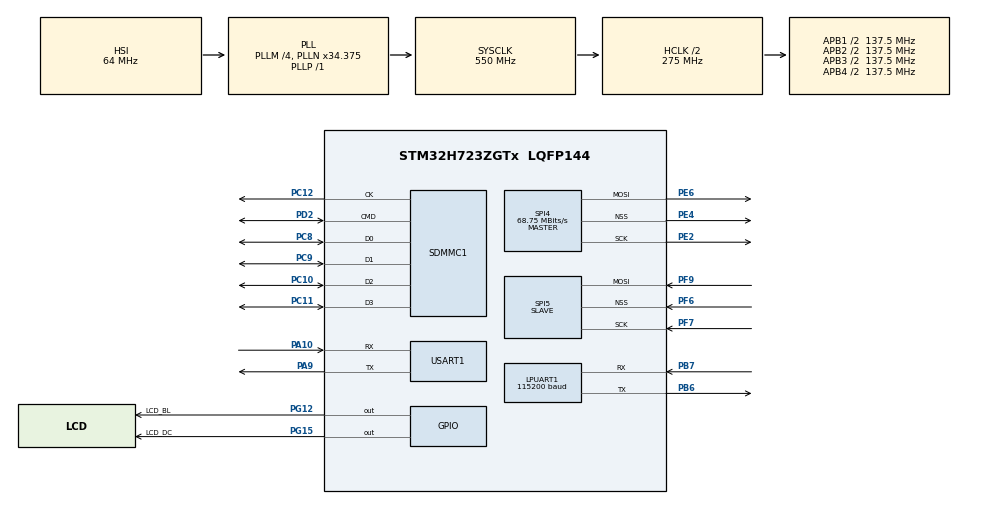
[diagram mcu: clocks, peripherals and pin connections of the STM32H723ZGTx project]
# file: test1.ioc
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CORTEX_M7.CPU_DCache=Enabled
CORTEX_M7.CPU_ICache=Enabled
CORTEX_M7.default_mode_Activation=1
FREERTOS.Tasks01=defaultTask,24,128,StartDefaultTask,Default,NULL,Dynamic,NULL,NULL
FREERTOS.configUSE_TICK_HOOK=1
LPUART1.BaudRate=115200
Mcu.Family=STM32H7
Mcu.Name=STM32H723ZGTx
Mcu.Package=LQFP144
NVIC.PriorityGroup=NVIC_PRIORITYGROUP_4
NVIC.SPI4_IRQn=true\:5\:0\:false\:false\:true\:true\:true\:true\:true
NVIC.TIM1_UP_IRQn=true\:15\:0\:false\:false\:true\:false\:false\:true\:true
NVIC.TimeBase=TIM1_UP_IRQn
NVIC.TimeBaseIP=TIM1
PA10.Mode=Asynchronous
PA10.Signal=USART1_RX
PA13(JTMS/SWDIO).Mode=Serial_Wire
PA13(JTMS/SWDIO).Signal=DEBUG_JTMS-SWDIO
PA14(JTCK/SWCLK).Mode=Serial_Wire
PA14(JTCK/SWCLK).Signal=DEBUG_JTCK-SWCLK
PA9.Mode=Asynchronous
PA9.Signal=USART1_TX
PB6.Mode=Asynchronous
PB6.Signal=LPUART1_TX
PB7.Mode=Asynchronous
PB7.Signal=LPUART1_RX
PC10.Mode=SD_4_bits_Wide_bus
PC10.Signal=SDMMC1_D2
PC11.Mode=SD_4_bits_Wide_bus
PC11.Signal=SDMMC1_D3
PC12.Mode=SD_4_bits_Wide_bus
PC12.Signal=SDMMC1_CK
PC14-OSC32_IN.Mode=LSE-External-Oscillator
PC14-OSC32_IN.Signal=RCC_OSC32_IN
PC15-OSC32_OUT.Mode=LSE-External-Oscillator
PC15-OSC32_OUT.Signal=RCC_OSC32_OUT
PC8.Mode=SD_4_bits_Wide_bus
PC8.Signal=SDMMC1_D0
PC9.Mode=SD_4_bits_Wide_bus
PC9.Signal=SDMMC1_D1
PD2.Mode=SD_4_bits_Wide_bus
PD2.Signal=SDMMC1_CMD
PE2.GPIO_Speed=GPIO_SPEED_FREQ_VERY_HIGH
PE2.Mode=TX_Only_Simplex_Unidirect_Master
PE2.Signal=SPI4_SCK
PE4.GPIO_Speed=GPIO_SPEED_FREQ_VERY_HIGH
PE4.Mode=NSS_Signal_Hard_Output
PE4.Signal=SPI4_NSS
PE6.GPIO_Speed=GPIO_SPEED_FREQ_VERY_HIGH
PE6.Mode=TX_Only_Simplex_Unidirect_Master
PE6.Signal=SPI4_MOSI
PF6.GPIO_Speed=GPIO_SPEED_FREQ_MEDIUM
PF6.Mode=NSS_Signal_Hard_Input
PF6.Signal=SPI5_NSS
PF7.GPIO_Speed=GPIO_SPEED_FREQ_MEDIUM
PF7.Mode=RX_Only_Simplex_Unidirect_Slave
PF7.Signal=SPI5_SCK
PF9.GPIO_Speed=GPIO_SPEED_FREQ_MEDIUM
PF9.Mode=RX_Only_Simplex_Unidirect_Slave
PF9.Signal=SPI5_MOSI
PG12.GPIO_Label=LCD_BL
PG12.GPIO_ModeDefaultOutputPP=GPIO_MODE_OUTPUT_PP
PG12.GPIO_PuPd=GPIO_PULLDOWN
PG12.Signal=GPIO_Output
PG15.GPIO_Label=LCD_DC
PG15.GPIO_PuPd=GPIO_NOPULL
PG15.Signal=GPIO_Output
PH0-OSC_IN.Mode=HSE-External-Oscillator
PH0-OSC_IN.Signal=RCC_OSC_IN
PH1-OSC_OUT.Mode=HSE-External-Oscillator
PH1-OSC_OUT.Signal=RCC_OSC_OUT
ProjectManager.HeapSize=0x2000
ProjectManager.StackSize=0x10000
ProjectManager.TargetToolchain=MDK-ARM V5.32
RCC.ADCFreq_Value=129000000
RCC.APB1Freq_Value=137500000
RCC.APB2Freq_Value=137500000
RCC.APB3Freq_Value=137500000
RCC.APB4Freq_Value=137500000
RCC.CortexFreq_Value=550000000
RCC.D1PPRE=RCC_APB3_DIV2
RCC.D2PPRE1=RCC_APB1_DIV2
RCC.D2PPRE2=RCC_APB2_DIV2
RCC.D3PPRE=RCC_APB4_DIV2
RCC.DIVM1=4
RCC.DIVM3=1
RCC.DIVN1=34
RCC.DIVN3=48
RCC.DIVP1=1
RCC.DIVR2=5
RCC.DIVR3=25
RCC.HCLKFreq_Value=275000000
RCC.HPRE=RCC_HCLK_DIV2
RCC.PLL2FRACN=0
RCC.PLL3FRACN=0
RCC.PLLFRACN=3072
RCC.SDMMC1CLockSelection=RCC_SDMMCCLKSOURCE_PLL2
RCC.SYSCLKFreq_VALUE=550000000
RCC.SYSCLKSource=RCC_SYSCLKSOURCE_PLLCLK
RCC.USBFreq_Value=275000000
SPI4.BaudRatePrescaler=SPI_BAUDRATEPRESCALER_2
SPI4.CalculateBaudRate=68.75 MBits/s
SPI4.DataSize=SPI_DATASIZE_8BIT
SPI4.Direction=SPI_DIRECTION_2LINES_TXONLY
SPI4.FifoThreshold=SPI_FIFO_THRESHOLD_02DATA
SPI4.FirstBit=SPI_FIRSTBIT_MSB
SPI4.Mode=SPI_MODE_MASTER
SPI4.VirtualNSS=VM_NSSHARD
SPI4.VirtualType=VM_MASTER
SPI5.DataSize=SPI_DATASIZE_8BIT
SPI5.Direction=SPI_DIRECTION_2LINES_RXONLY
SPI5.Mode=SPI_MODE_SLAVE
SPI5.VirtualNSS=VM_NSSHARD
SPI5.VirtualType=VM_SLAVE
USART1.VirtualMode-Asynchronous=VM_ASYNC
VP_FREERTOS_VS_CMSIS_V2.Mode=CMSIS_V2
VP_MEMORYMAP_VS_MEMORYMAP.Mode=CurAppReg
VP_SYS_VS_tim1.Mode=TIM1
board=custom

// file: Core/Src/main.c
/* USER CODE BEGIN Header */
/**
  ******************************************************************************
  * @file           : main.c
  * @brief          : Main program body
  ******************************************************************************
  * @attention
  *
  * Copyright (c) 2025 STMicroelectronics.
  * All rights reserved.
  *
  * This software is licensed under terms that can be found in the LICENSE file
  * in the root directory of this software component.
  * If no LICENSE file comes with this software, it is provided AS-IS.
  *
  ******************************************************************************
  */
/* USER CODE END Header */
#include "main.h"
#include "cmsis_os.h"
#include "usart.h"
#include "memorymap.h"
#include "sdmmc.h"
#include "spi.h"
#include "gpio.h"

/* USER CODE BEGIN Includes */
#include "stdio.h"
#include "lv_port_disp_template.h"
#include "lv_port_indev_template.h"
#include "lcd_spi_200.h"
/* USER CODE END Includes */

/* USER CODE BEGIN PTD */
#define Camera_Buffer	0x24000000   //摄像头缓冲区

/* USER CODE END PTD */

void SystemClock_Config(void);
static void MPU_Config(void);
void MX_FREERTOS_Init(void);

int main(void)
{

  /* MPU Configuration--------------------------------------------------------*/
  MPU_Config();

  /* Enable the CPU Cache */

  /* Enable I-Cache---------------------------------------------------------*/
  SCB_EnableICache();

  /* Enable D-Cache---------------------------------------------------------*/
  SCB_EnableDCache();

  /* MCU Configuration--------------------------------------------------------*/

  /* Reset of all peripherals, Initializes the Flash interface and the Systick. */
  HAL_Init();

  /* Configure the system clock */
  SystemClock_Config();

  /* Initialize all configured peripherals */
  MX_GPIO_Init();
  MX_SPI5_Init();
  MX_USART1_UART_Init();
  MX_SPI4_Init();
  MX_LPUART1_UART_Init();
  MX_SDMMC1_SD_Init();
  /* USER CODE BEGIN 2 */
//	DCMI_OV2640_Init();
//	OV2640_Set_Horizontal_Mirror(0);
//	OV2640_Set_Effect(0);
  /* USER CODE END 2 */

  /* Init scheduler */
  osKernelInitialize();

  /* Call init function for freertos objects (in cmsis_os2.c) */
  MX_FREERTOS_Init();

  /* Start scheduler */
  osKernelStart();

  /* We should never get here as control is now taken by the scheduler */

  /* Infinite loop */
  while (1)
  {

    /* USER CODE BEGIN 3 */
	  HAL_Delay(1000);
  }
  /* USER CODE END 3 */
}

void SystemClock_Config(void)
{
  RCC_OscInitTypeDef RCC_OscInitStruct = {0};
  RCC_ClkInitTypeDef RCC_ClkInitStruct = {0};

  /** Supply configuration update enable
  */
  HAL_PWREx_ConfigSupply(PWR_LDO_SUPPLY);

  /** Configure the main internal regulator output voltage
  */
  __HAL_PWR_VOLTAGESCALING_CONFIG(PWR_REGULATOR_VOLTAGE_SCALE0);

  while(!__HAL_PWR_GET_FLAG(PWR_FLAG_VOSRDY)) {}

  /** Initializes the RCC Oscillators according to the specified parameters
  * in the RCC_OscInitTypeDef structure.
  */
  RCC_OscInitStruct.OscillatorType = RCC_OSCILLATORTYPE_HSI;
  RCC_OscInitStruct.HSIState = RCC_HSI_DIV1;
  RCC_OscInitStruct.HSICalibrationValue = 64;
  RCC_OscInitStruct.PLL.PLLState = RCC_PLL_ON;
  RCC_OscInitStruct.PLL.PLLSource = RCC_PLLSOURCE_HSI;
  RCC_OscInitStruct.PLL.PLLM = 4;
  RCC_OscInitStruct.PLL.PLLN = 34;
  RCC_OscInitStruct.PLL.PLLP = 1;
  RCC_OscInitStruct.PLL.PLLQ = 2;
  RCC_OscInitStruct.PLL.PLLR = 2;
  RCC_OscInitStruct.PLL.PLLRGE = RCC_PLL1VCIRANGE_3;
  RCC_OscInitStruct.PLL.PLLVCOSEL = RCC_PLL1VCOWIDE;
  RCC_OscInitStruct.PLL.PLLFRACN = 3072;
  if (HAL_RCC_OscConfig(&RCC_OscInitStruct) != HAL_OK)
  {
    Error_Handler();
  }

  /** Initializes the CPU, AHB and APB buses clocks
  */
  RCC_ClkInitStruct.ClockType = RCC_CLOCKTYPE_HCLK|RCC_CLOCKTYPE_SYSCLK
                              |RCC_CLOCKTYPE_PCLK1|RCC_CLOCKTYPE_PCLK2
                              |RCC_CLOCKTYPE_D3PCLK1|RCC_CLOCKTYPE_D1PCLK1;
  RCC_ClkInitStruct.SYSCLKSource = RCC_SYSCLKSOURCE_PLLCLK;
  RCC_ClkInitStruct.SYSCLKDivider = RCC_SYSCLK_DIV1;
  RCC_ClkInitStruct.AHBCLKDivider = RCC_HCLK_DIV2;
  RCC_ClkInitStruct.APB3CLKDivider = RCC_APB3_DIV2;
  RCC_ClkInitStruct.APB1CLKDivider = RCC_APB1_DIV2;
  RCC_ClkInitStruct.APB2CLKDivider = RCC_APB2_DIV2;
  RCC_ClkInitStruct.APB4CLKDivider = RCC_APB4_DIV2;

  if (HAL_RCC_ClockConfig(&RCC_ClkInitStruct, FLASH_LATENCY_3) != HAL_OK)
  {
    Error_Handler();
  }
}

/* USER CODE BEGIN 4 */
//断言处理  覆盖ARM标准断言函数
void __aeabi_assert(const char *expr, const char *file, int line) {
    printf("Assertion failed: %s, file %s, line %d\n", expr, file, line);
    while(1); // 死循环或触发复位
}

//void MPU_Config(void)
//{
//  MPU_Region_InitTypeDef MPU_InitStruct;
//
//  HAL_MPU_Disable(); // �޸�MPU����֮ǰ�Ƚ���

//  MPU_InitStruct.Enable 				= MPU_REGION_ENABLE;
//  MPU_InitStruct.BaseAddress 			= 0x24000000;
//  MPU_InitStruct.Size 					= MPU_REGION_SIZE_512KB;
//  MPU_InitStruct.AccessPermission 	= MPU_REGION_FULL_ACCESS;
//  MPU_InitStruct.IsBufferable 		= MPU_ACCESS_BUFFERABLE;
//  MPU_InitStruct.IsCacheable 			= MPU_ACCESS_CACHEABLE;
//  MPU_InitStruct.IsShareable 			= MPU_ACCESS_SHAREABLE;
//  MPU_InitStruct.Number 				= MPU_REGION_NUMBER0;
//  MPU_InitStruct.TypeExtField 		= MPU_TEX_LEVEL0;
//  MPU_InitStruct.SubRegionDisable 	= 0x00;
//  MPU_InitStruct.DisableExec 			= MPU_INSTRUCTION_ACCESS_ENABLE;

//  HAL_MPU_ConfigRegion(&MPU_InitStruct);

//  HAL_MPU_Enable(MPU_PRIVILEGED_DEFAULT);	// ʹ��MPU

//}
/* USER CODE END 4 */

 /* MPU Configuration */

void MPU_Config(void)
{
  MPU_Region_InitTypeDef MPU_InitStruct = {0};

  /* Disables the MPU */
  HAL_MPU_Disable();

  /** Initializes and configures the Region and the memory to be protected
  */
  MPU_InitStruct.Enable = MPU_REGION_ENABLE;
  MPU_InitStruct.Number = MPU_REGION_NUMBER0;
  MPU_InitStruct.BaseAddress = 0x0;
  MPU_InitStruct.Size = MPU_REGION_SIZE_4GB;
  MPU_InitStruct.SubRegionDisable = 0x87;
  MPU_InitStruct.TypeExtField = MPU_TEX_LEVEL0;
  MPU_InitStruct.AccessPermission = MPU_REGION_NO_ACCESS;
  MPU_InitStruct.DisableExec = MPU_INSTRUCTION_ACCESS_DISABLE;
  MPU_InitStruct.IsShareable = MPU_ACCESS_SHAREABLE;
  MPU_InitStruct.IsCacheable = MPU_ACCESS_NOT_CACHEABLE;
  MPU_InitStruct.IsBufferable = MPU_ACCESS_NOT_BUFFERABLE;

  HAL_MPU_ConfigRegion(&MPU_InitStruct);
  /* Enables the MPU */
  HAL_MPU_Enable(MPU_PRIVILEGED_DEFAULT);

}

void HAL_TIM_PeriodElapsedCallback(TIM_HandleTypeDef *htim)
{
  if (htim->Instance == TIM1) {
    HAL_IncTick();
  }
}

void Error_Handler(void)
{
  __disable_irq();
  while (1)
  {
  }
}

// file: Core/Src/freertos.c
/* USER CODE BEGIN Header */
/**
  ******************************************************************************
  * File Name          : freertos.c
  * Description        : Code for freertos applications
  ******************************************************************************
  * @attention
  *
  * Copyright (c) 2025 STMicroelectronics.
  * All rights reserved.
  *
  * This software is licensed under terms that can be found in the LICENSE file
  * in the root directory of this software component.
  * If no LICENSE file comes with this software, it is provided AS-IS.
  *
  ******************************************************************************
  */
/* USER CODE END Header */

#include "FreeRTOS.h"
#include "task.h"
#include "main.h"
#include "cmsis_os.h"

/* USER CODE BEGIN Includes */
#include "stdio.h"
#include "lv_port_disp_template.h"
#include "lv_port_indev_template.h"
#include "lvgl.h"
#include "lv_demos.h"
#include "XPT2046.h"

/* USER CODE END Includes */

/* Definitions for defaultTask */
osThreadId_t defaultTaskHandle;
const osThreadAttr_t defaultTask_attributes = {
  .name = "defaultTask",
  .stack_size = 128 * 4,
  .priority = (osPriority_t) osPriorityNormal,
};

/* USER CODE BEGIN FunctionPrototypes */
osThreadId_t displayTaskHandle;
const osThreadAttr_t displayTask_attributes = {
  .name = "displayTask",
  .stack_size = 10*1024,
  .priority = (osPriority_t) osPriorityNormal,
};

void displayTask(void *argument);
/* USER CODE END FunctionPrototypes */

void StartDefaultTask(void *argument);

void MX_FREERTOS_Init(void); /* (MISRA C 2004 rule 8.1) */

/* Hook prototypes */
void vApplicationTickHook(void);

/* USER CODE BEGIN 3 */
void vApplicationTickHook( void )
{
   /* This function will be called by each tick interrupt if
   configUSE_TICK_HOOK is set to 1 in FreeRTOSConfig.h. User code can be
   added here, but the tick hook is called from an interrupt context, so
   code must not attempt to block, and only the interrupt safe FreeRTOS API
   functions can be used (those that end in FromISR()). */
	// 告诉lvgl已经过去了1毫秒
	//lv_tick_inc(1);
}
/* USER CODE END 3 */

void MX_FREERTOS_Init(void) {

  /* Create the thread(s) */
  /* creation of defaultTask */
  defaultTaskHandle = osThreadNew(StartDefaultTask, NULL, &defaultTask_attributes);

  /* USER CODE BEGIN RTOS_THREADS */
  /* add threads, ... */
	displayTaskHandle = osThreadNew(displayTask, NULL, &displayTask_attributes);
  /* USER CODE END RTOS_THREADS */

}

void StartDefaultTask(void *argument)
{
  /* USER CODE BEGIN StartDefaultTask */
  /* Infinite loop */
  for(;;)
  {
//	    uint8_t tx_data[] = "Hello, USART1!";
//  	uint8_t rx_data;

//  // 发送数据
//  HAL_UART_Transmit(&huart1, tx_data, sizeof(tx_data), HAL_MAX_DELAY);

//  // 接收数据
//  HAL_UART_Receive(&huart1, &rx_data, 1, HAL_MAX_DELAY);

	//printf("STM32 串口实验 \r\n");
    vTaskDelay(pdMS_TO_TICKS(1000));
  }
  /* USER CODE END StartDefaultTask */
}

/* USER CODE BEGIN Application */
void displayTask(void *argument)
{
	//lv_port_indev_init();
	//lv_demo_stress();
	//lv_demo_music();
	lv_init();
	lv_port_disp_init();
	lv_demo_benchmark();
	printf("LVGL TASK Start !");
  for(;;)
  {
	lv_task_handler();
    vTaskDelay(pdMS_TO_TICKS(3));
  }
}

/* USER CODE END Application */
